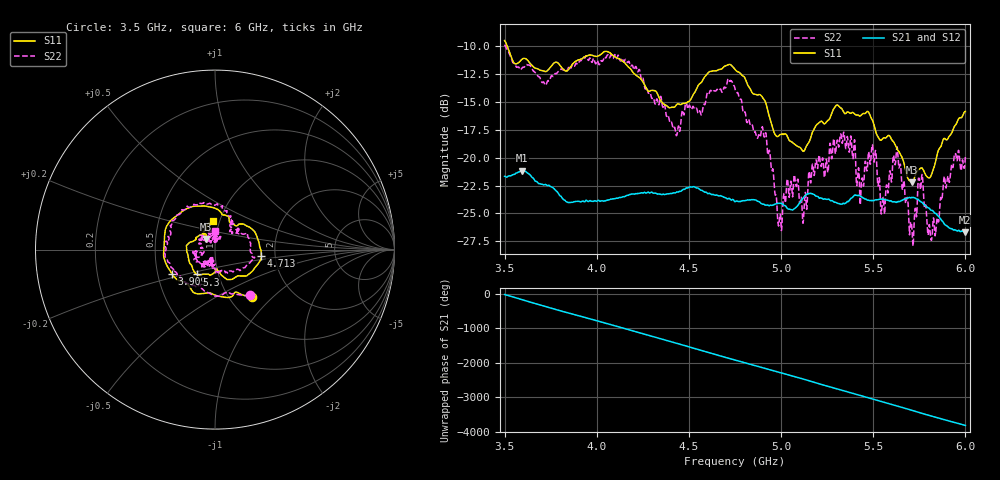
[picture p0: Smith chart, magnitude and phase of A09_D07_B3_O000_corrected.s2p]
! Created with skrf 1.9.0 (http://scikit-rf.org).
# Hz S RI R 50.0
!freq ReS11 ImS11 ReS21 ImS21 ReS12 ImS12 ReS22 ImS22
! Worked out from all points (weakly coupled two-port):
!   1601 points, 3.5 GHz to 6 GHz, reference 50 ohm
!   highest |S21| = -21.18 dB at 3.592 GHz (marker M1); lowest = -26.7 dB at 5.995 GHz (marker M2)
!   lowest |S11| = -22.2 dB at 5.711 GHz (marker M3), VSWR 1.17, Z = 44.9 + j5.35 ohm
!   |S11| at or under -10 dB: 3.514 GHz to end of sweep
!   |S22| runs from -27.9 to -9.9 dB; largest |S21 - S12| = 0.001
!   S11 on the Smith chart (normalised r, x): 3.5 GHz: 1.27, -0.75; 3.909 GHz: 0.59, -0.17; 4.713 GHz: 1.69, -0.13; 5.3 GHz: 0.79, -0.23; 6 GHz: 0.93, +0.31
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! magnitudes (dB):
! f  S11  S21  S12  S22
! 3.5 GHz  -9.5  -21.7  -21.7  -9.9
! 3.592 GHz  -11.2  -21.2  -21.2  -12.0
! 3.909 GHz  -11.2  -23.9  -23.9  -11.3
! 3.917 GHz  -11.2  -23.9  -23.9  -11.2
! 4.334 GHz  -14.5  -23.3  -23.2  -15.2
! 4.439 GHz  -15.2  -23.1  -23.1  -17.5
! 4.713 GHz  -11.7  -23.7  -23.7  -12.9
! 4.75 GHz  -12.1  -23.9  -23.9  -13.8
! 4.909 GHz  -14.8  -24.2  -24.2  -18.2
! 4.992 GHz  -18.0  -24.1  -24.1  -25.3
! 5.167 GHz  -17.9  -23.2  -23.2  -20.9
! 5.3 GHz  -15.3  -24.0  -24.0  -19.0
! 5.438 GHz  -16.1  -23.5  -23.5  -21.9
! 5.503 GHz  -17.0  -23.9  -23.8  -20.3
! 5.552 GHz  -18.3  -23.7  -23.7  -23.7
! 5.584 GHz  -18.0  -23.8  -23.8  -22.3
! 5.636 GHz  -19.4  -23.9  -23.9  -20.4
! 5.711 GHz  -22.2  -23.6  -23.5  -26.7
! 5.755 GHz  -21.0  -23.9  -23.9  -22.6
! 5.808 GHz  -21.8  -24.6  -24.6  -26.4
! 5.995 GHz  -15.9  -26.7  -26.6  -20.8
! 6 GHz  -15.9  -26.6  -26.6  -19.9
